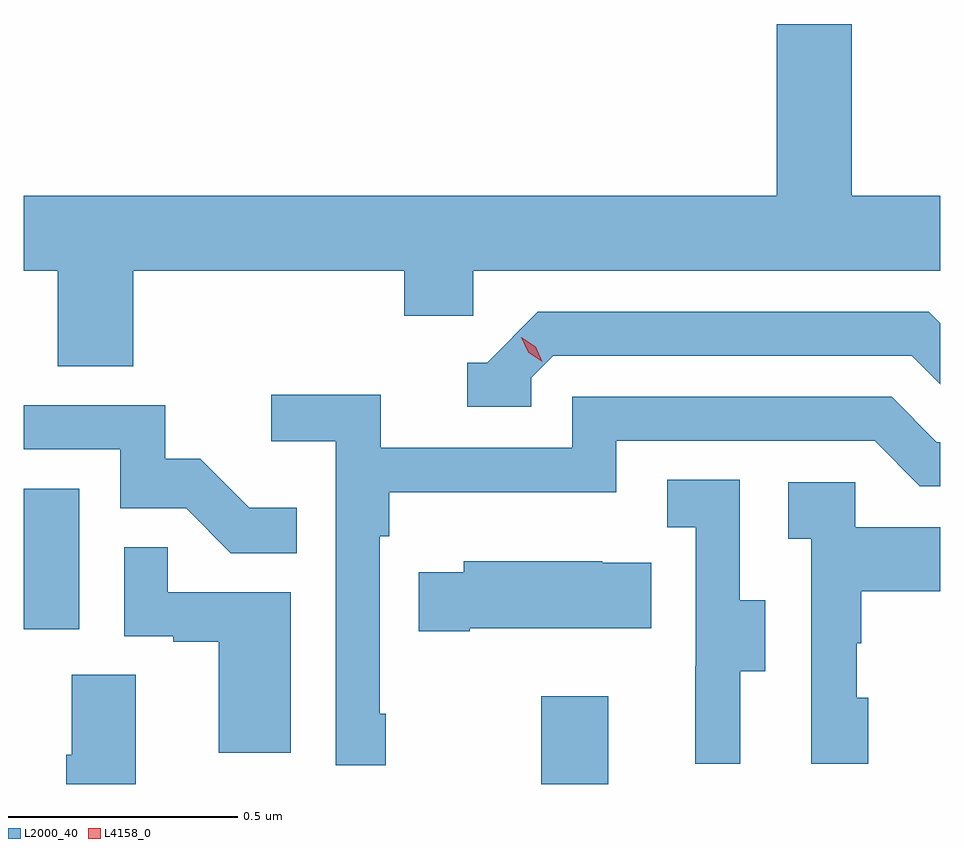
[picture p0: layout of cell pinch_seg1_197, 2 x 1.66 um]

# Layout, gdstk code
import gdstk
lib = gdstk.Library(unit=1e-6, precision=1e-09)
def R(c, l, rs):  # rectangles x0, y0, x1, y1
    for r in rs: c.add(gdstk.rectangle(r[:2], r[2:], *l))
def P(c, l, *ps):  # polygons
    for p in ps: c.add(gdstk.Polygon(p, *l))
L2000_40 = (2000, 40)
L4158_0 = (4158, 0)

pinch_seg1_197 = lib.new_cell('pinch_seg1_197')
R(pinch_seg1_197, L2000_40, [(979.678,579.916,979.825,580.108), (978.549,580.254,978.67,580.561)])
P(pinch_seg1_197, L2000_40, [(978.788,581.036),(979.379,581.036),(979.379,580.938),(979.53,580.938),(979.53,581.036),(980.549,581.036),(980.549,581.2),(980.356,581.2),(980.356,581.575),(980.192,581.575),(980.192,581.2),(978.549,581.2),(978.549,581.036),(978.623,581.036),(978.623,580.828),(978.788,580.828)],
  [(979.656,580.803),(979.704,580.851),(980.487,580.851),(980.549,580.789),(980.549,580.922),(980.524,580.947),(979.671,580.947),(979.56,580.836),(979.517,580.836),(979.517,580.74),(979.656,580.74)],
  [(979.339,580.069),(979.326,580.069),(979.326,580.457),(979.346,580.457),(979.346,580.553),(979.842,580.553),(979.842,580.665),(980.406,580.665),(980.505,580.566),(980.549,580.566),(980.549,580.662),(980.542,580.662),(980.443,580.761),(979.746,580.761),(979.746,580.65),(979.328,580.65),(979.328,580.766),(979.089,580.766),(979.089,580.664),(979.23,580.664),(979.23,579.957),(979.339,579.957)],
  [(979.145,580.519),(979.041,580.519),(978.934,580.626),(978.858,580.626),(978.858,580.743),(978.549,580.743),(978.549,580.647),(978.759,580.647),(978.759,580.518),(978.903,580.518),(979.001,580.42),(979.145,580.42)],
  [(980.113,580.162),(980.167,580.162),(980.167,580.317),(980.112,580.317),(980.112,580.58),(979.953,580.58),(979.953,580.477),(980.016,580.477),(980.016,580.173),(980.015,580.173),(980.015,579.96),(980.113,579.96)],
  [(980.392,580.104),(980.367,580.104),(980.367,580.223),(980.377,580.223),(980.377,580.337),(980.549,580.337),(980.549,580.477),(980.364,580.477),(980.364,580.575),(980.217,580.575),(980.217,580.451),(980.268,580.451),(980.268,579.96),(980.392,579.96)],
  [(979.132,580.335),(978.863,580.335),(978.863,580.433),(978.768,580.433),(978.768,580.239),(978.875,580.239),(978.875,580.227),(978.974,580.227),(978.974,579.984),(979.132,579.984)],
  [(979.522,580.256),(979.919,580.256),(979.919,580.399),(979.811,580.399),(979.811,580.402),(979.509,580.402),(979.509,580.378),(979.411,580.378),(979.411,580.249),(979.522,580.249)],
  [(978.793,580.154),(978.653,580.154),(978.653,579.98),(978.641,579.98),(978.641,579.916),(978.793,579.916)])
P(pinch_seg1_197, L4158_0, [(979.681,580.838),(979.65,580.858),(979.635,580.891),(979.635,580.891),(979.635,580.891),(979.666,580.871),(979.681,580.838),(979.681,580.838)])

lib.write_gds('pinch_seg1_197.gds')
